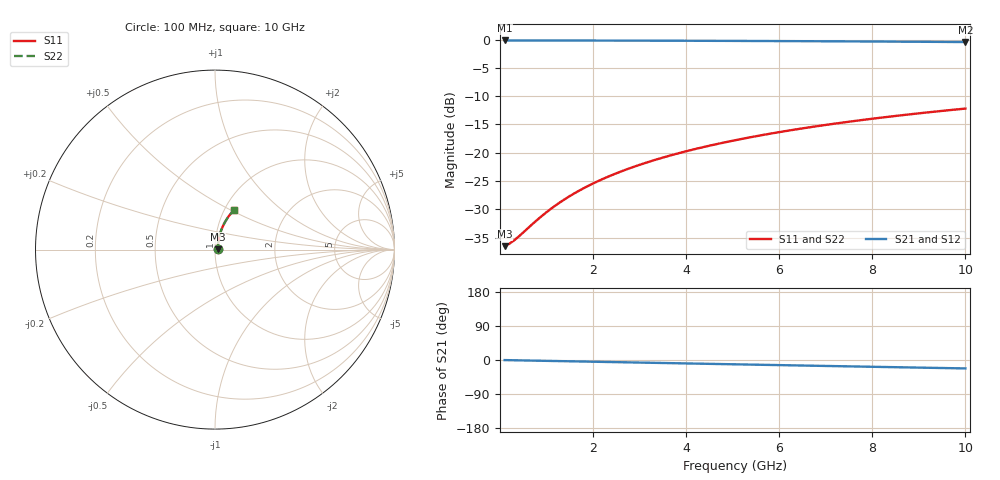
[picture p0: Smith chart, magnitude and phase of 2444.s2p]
# Hz S RI R 50.00
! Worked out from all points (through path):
!   100 points, 100 MHz to 10 GHz, reference 50 ohm
!   highest |S21| = -0.13 dB at 100 MHz (marker M1); lowest = -0.4 dB at 10 GHz (marker M2)
!   group delay of S21, straight-line fit = 6.18 ps
!   lowest |S11| = -36.5 dB at 100 MHz (marker M3), VSWR 1.03, Z = 51.5 + j0.258 ohm
!   |S11| at or under -10 dB: start of sweep to end of sweep
!   |S22| runs from -36.5 to -12.2 dB; largest |S21 - S12| = 0
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1e8  0.0147 0.00251  0.9853 -0.00389  0.9853 -0.00389  0.0147 0.00251
2e8  0.0148 0.00502  0.9852 -0.00779  0.9852 -0.00779  0.0148 0.00502
3e8  0.0149 0.00752  0.9851 -0.0117  0.9851 -0.0117  0.0149 0.00752
4e8  0.0151 0.01  0.9849 -0.0156  0.9849 -0.0156  0.0151 0.01
8e8  0.0157 0.02  0.9842 -0.0311  0.9842 -0.0311  0.0157 0.02
1.1e9  0.0164 0.0275  0.9835 -0.0428  0.9835 -0.0428  0.0164 0.0275
1.4e9  0.0172 0.035  0.9826 -0.0544  0.9826 -0.0544  0.0172 0.035
1.6e9  0.0178 0.04  0.9819 -0.0621  0.9819 -0.0621  0.0178 0.04
1.8e9  0.0185 0.0449  0.9811 -0.0699  0.9811 -0.0699  0.0185 0.0449
2.1e9  0.0197 0.0523  0.9798 -0.0814  0.9798 -0.0814  0.0197 0.0523
2.5e9  0.0216 0.0621  0.9778 -0.0968  0.9778 -0.0968  0.0216 0.0621
2.9e9  0.0238 0.0718  0.9754 -0.1121  0.9754 -0.1121  0.0238 0.0718
3.4e9  0.0269 0.0839  0.9719 -0.1311  0.9719 -0.1311  0.0269 0.0839
3.8e9  0.0298 0.0934  0.9688 -0.1461  0.9688 -0.1461  0.0298 0.0934
4.2e9  0.0329 0.1028  0.9653 -0.1611  0.9653 -0.1611  0.0329 0.1028
4.6e9  0.0363 0.1121  0.9616 -0.176  0.9616 -0.176  0.0363 0.1121
5.1e9  0.041 0.1236  0.9564 -0.1944  0.9564 -0.1944  0.041 0.1236
5.9e9  0.0493 0.1414  0.9472 -0.2234  0.9472 -0.2234  0.0493 0.1414
6.7e9  0.0587 0.1586  0.9368 -0.2517  0.9368 -0.2517  0.0587 0.1586
7.5e9  0.0691 0.175  0.9254 -0.2794  0.9254 -0.2794  0.0691 0.175
8.4e9  0.0818 0.1927  0.9112 -0.3096  0.9112 -0.3096  0.0818 0.1927
1e10  0.1071 0.2213  0.883 -0.3608  0.883 -0.3608  0.1071 0.2213
